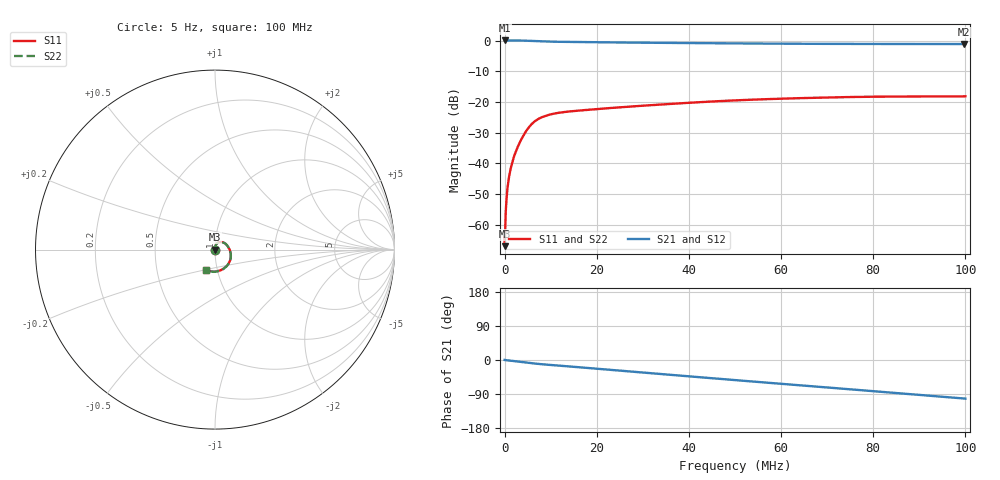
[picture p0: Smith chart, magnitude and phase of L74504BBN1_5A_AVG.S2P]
!Agilent Technologies,E5061B,MY49102235,A.02.00
!Date: Mon Jul 10 16:26:12 2023
!Data & Calibration Information:
!Freq	S11:SOLT2(ON)	S21:SOLT2(ON)	S12:SOLT2(ON)	S22:SOLT2(ON)
# Hz S RI R 50
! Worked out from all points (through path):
!   1600 points, 5 Hz to 100 MHz, reference 50 ohm
!   highest |S21| = 0.02 dB at 5 Hz (marker M1); lowest = -1.2 dB at 99.62 MHz (marker M2)
!   group delay of S21, straight-line fit = 2.76 ns
!   lowest |S11| = -66.9 dB at 62.54 kHz (marker M3), VSWR 1.00, Z = 50 + j0.045 ohm
!   |S11| at or under -10 dB: start of sweep to end of sweep
!   |S22| runs from -81.1 to -18.0 dB; largest |S21 - S12| = 0.0027
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5  -0.000451 0.000428  1.002 0.00236  1 -2.92e-05  -5.96e-05 -6.42e-05
62544.08  -3.9e-05 0.00045  1 -0.0013  1 -0.00117  8.83e-06 0.000356
375239.5  0.000165 0.00243  0.9999 -0.00905  1 -0.00904  9.45e-05 0.00237
562856.8  0.000266 0.00363  0.9996 -0.0139  0.9995 -0.0134  0.000223 0.00356
625395.8  0.000288 0.00398  0.9996 -0.0153  0.9989 -0.015  0.000322 0.00402
750474  0.000181 0.00469  0.9996 -0.0183  0.9994 -0.0175  0.000164 0.00471
1000630  0.000278 0.00632  0.9994 -0.0239  0.9994 -0.024  0.000304 0.00623
1500943  0.000654 0.00936  0.9992 -0.0367  0.9985 -0.0364  0.000664 0.00939
2126334  0.00125 0.0134  0.9973 -0.0518  0.9979 -0.0518  0.00114 0.0134
3001881  0.00254 0.0196  0.9963 -0.073  0.9964 -0.0729  0.00252 0.0196
4002506  0.00573 0.0272  0.9918 -0.0993  0.9918 -0.0991  0.00568 0.0273
4940593  0.011 0.0342  0.9852 -0.1233  0.9851 -0.1229  0.0109 0.0343
5878679  0.0185 0.0396  0.9761 -0.1454  0.976 -0.1453  0.0185 0.0397
8005008  0.0372 0.0422  0.9529 -0.1864  0.9528 -0.186  0.0371 0.0423
1.125704e7  0.056 0.0344  0.9241 -0.2364  0.9239 -0.2362  0.0561 0.0345
1.669794e7  0.0706 0.0189  0.8851 -0.3159  0.8851 -0.3158  0.0708 0.0188
3.333334e7  0.0874 -0.0227  0.7378 -0.5446  0.738 -0.5444  0.0876 -0.0233
5.003127e7  0.0802 -0.0696  0.5395 -0.7173  0.5399 -0.7173  0.08 -0.0705
6.672921e7  0.0446 -0.108  0.3122 -0.8266  0.3122 -0.8266  0.0443 -0.1093
8.33646e7  -0.00357 -0.1224  0.0689 -0.8755  0.0693 -0.8757  -0.00448 -0.1238
9.962477e7  -0.0487 -0.1134  -0.1754 -0.8581  -0.1758 -0.8585  -0.0503 -0.1154
1e8  -0.0497 -0.1131  -0.181 -0.8571  -0.1814 -0.8573  -0.0514 -0.115
